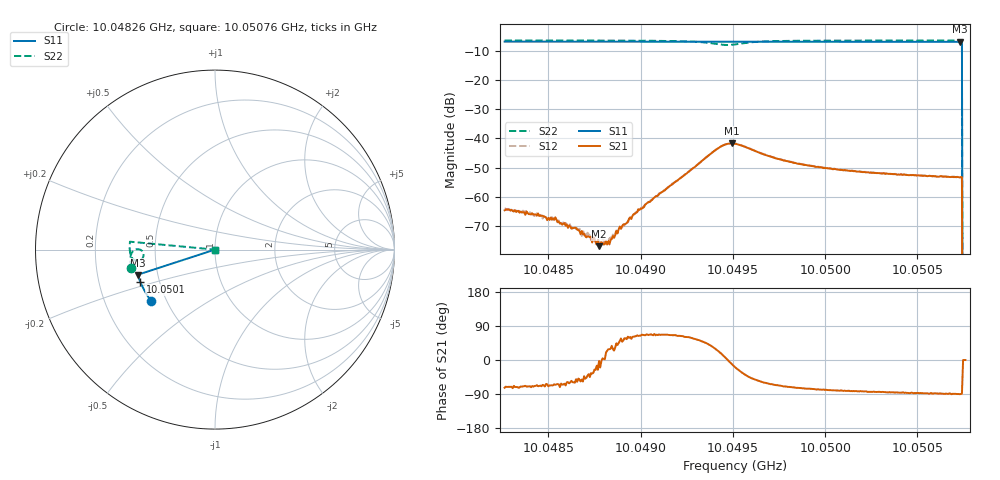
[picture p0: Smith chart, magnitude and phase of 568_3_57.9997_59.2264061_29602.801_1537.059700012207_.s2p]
#  HZ  S  RI  R  50.00
! Rohde & Schwarz Vector Network Analyzer
! Rohde-Schwarz,ZNB20-2Port,1311601062101988,3.16
! Created: UTC 3/21/2024, 1:15:48 AM
! freq[Hz]  re:S11  im:S11  re:S21  im:S21  re:S12  im:S12  re:S22  im:S22
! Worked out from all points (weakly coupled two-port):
!   401 points, 10.04826 GHz to 10.05076 GHz, reference 50 ohm
!   highest |S21| = -41.76 dB at 10.04949 GHz (marker M1); lowest = -77.0 dB at 10.04877 GHz (marker M2)
!   lowest |S11| = -6.9 dB at 10.05073 GHz (marker M3), VSWR 2.65, Z = 19.3 - j6.82 ohm
!   |S11| at or under -10 dB: 10.05074 GHz to end of sweep
!   |S22| runs from - to -6.4 dB; largest |S21 - S12| = 0.00059
!   S11 on the Smith chart (normalised r, x): 10.04826 GHz: 0.41, -0.30; 10.0501 GHz: 0.39, -0.18; 10.05076 GHz: 1.00, +0.00
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1.0048262e10  -0.3574 -0.2842  0.000168 -0.000558  0.000247 -0.000572  -0.4666 -0.1016
1.0048362e10  -0.3612 -0.2789  0.000188 -0.000508  0.000231 -0.000527  -0.4677 -0.0945
1.0048524e10  -0.3674 -0.2701  0.000167 -0.000394  0.000166 -0.000368  -0.4693 -0.0827
1.0048606e10  -0.3705 -0.2657  0.000153 -0.000249  0.000184 -0.000276  -0.4701 -0.0768
1.0048681e10  -0.3732 -0.2615  0.00016 -0.000202  0.000125 -0.000172  -0.4707 -0.0709
1.0048712e10  -0.3743 -0.26  0.000156 -0.000138  0.000202 -0.000131  -0.4708 -0.0684
1.0048743e10  -0.3756 -0.2581  0.000166 -0.000112  0.000167 -7.6e-05  -0.4709 -0.0659
1.0048774e10  -0.3766 -0.2565  0.000141 -6.25e-06  0.000179 -3.9e-05  -0.471 -0.0634
1.004883e10  -0.3787 -0.2532  0.000134 7.24e-05  0.000165 9.61e-05  -0.4712 -0.0586
1.0048893e10  -0.3807 -0.2497  0.000154 0.000235  0.000177 0.000232  -0.4714 -0.0531
1.0048974e10  -0.3835 -0.2452  0.00024 0.000467  0.000234 0.00049  -0.4709 -0.0457
1.0049099e10  -0.3877 -0.2381  0.000421 0.00102  0.000378 0.00106  -0.4689 -0.0326
1.0049411e10  -0.3969 -0.2198  0.00578 0.00295  0.0056 0.00333  -0.4156 -0.00111
1.0049455e10  -0.398 -0.2174  0.00771 0.00114  0.00759 0.00161  -0.3999 -0.0188
1.0049492e10  -0.3991 -0.2155  0.00804 -0.00145  0.00814 -0.000891  -0.3999 -0.0412
1.0049511e10  -0.3997 -0.2145  0.00767 -0.0026  0.00784 -0.0021  -0.4052 -0.0506
1.0049729e10  -0.4064 -0.2019  0.00187 -0.00416  0.00213 -0.00407  -0.4638 -0.0442
1.0049929e10  -0.4119 -0.1899  0.000799 -0.00324  0.000976 -0.00322  -0.4728 -0.0203
1.0050104e10  -0.4164 -0.1793  0.000442 -0.00282  0.000593 -0.00279  -0.4749 -0.00422
1.0050348e10  -0.4221 -0.1644  0.000219 -0.00246  0.000359 -0.00244  -0.4754 0.0156
1.0050728e10  -0.4298 -0.1407  -1.08e-05 -0.00214  0.000135 -0.00216  -0.474 0.0434
1.005076e10  0 0  0 0  0 0  0 0
